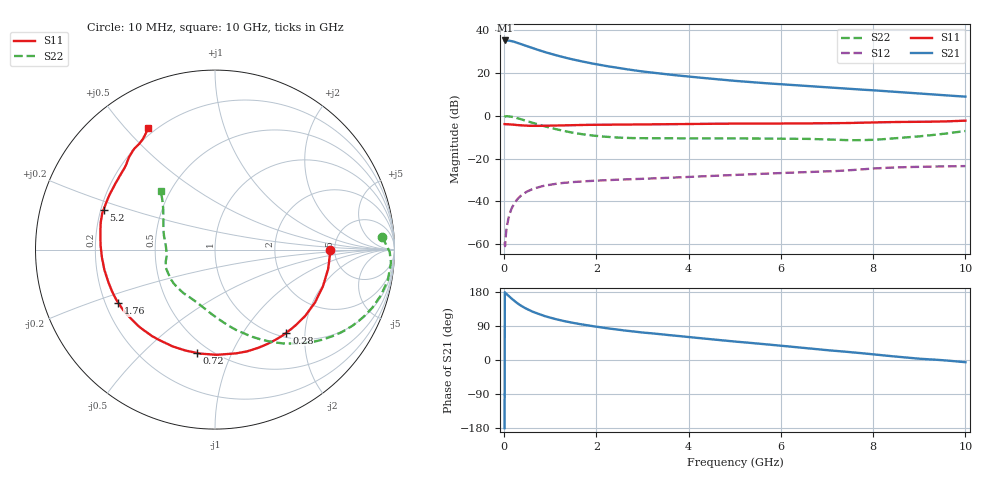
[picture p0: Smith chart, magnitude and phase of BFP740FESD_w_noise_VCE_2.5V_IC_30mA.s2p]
! Infineon Technologies  Discrete & RF Semiconductors
! BFP740FESD
! VCE =  2.5 V,  IC =  30 mA
! Common Emitter S-Parameters:  Jan 2016
# GHz  S  MA  R  50
!  f  S11  S21  S12  S22
! GHz  MAG  ANG  MAG  ANG  MAG  ANG  MAG  ANG
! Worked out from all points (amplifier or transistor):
!   233 points, 10 MHz to 10 GHz, reference 50 ohm
!   highest |S21| = 35.3 dB at 20 MHz (marker M1)
!   |S21| within 3 dB of that: start of sweep to 541.8 MHz
!   unconditionally stable (mu >= 1): 5.206 GHz to end of sweep
!   at 200 MHz: K = 0.12, MSG = 38.2 dB, |S12| = -41.7 dB
!   at 1.74 GHz: K = 0.55, MSG = 27.9 dB, |S12| = -30.6 dB
!   at 10 GHz: K = 1.14, MAG = 13.9 dB, |S12| = -23.5 dB
!   lowest NFmin = 0.98 dB at 450 MHz
!   S11 on the Smith chart (normalised r, x): 10 MHz: 4.60, -0.07; 280 MHz: 1.09, -1.60; 720 MHz: 0.43, -0.74; 1.76 GHz: 0.25, -0.24; 5.2 GHz: 0.21, +0.17; 10 GHz: 0.17, +0.58
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0.01  0.6428 -0.4  57.72 -179.8  0.0011 98.8  0.9347 4.4
0.02  0.64 -4.0  57.89 177.7  0.0009 91.0  0.9734 -0.8
0.11  0.633 -20.6  57.21 167.9  0.0047 80.2  0.9736 -11.0
0.15  0.6303 -28.0  56.29 163.2  0.0064 77.2  0.9597 -15.3
0.195  0.6238 -35.6  54.83 158.6  0.008 74.8  0.9372 -19.7
0.28  0.6101 -49.3  51.39 150.4  0.011 68.9  0.8877 -27.2
0.34  0.6036 -58.3  48.96 145.3  0.0129 65.5  0.8504 -32.1
0.45  0.5945 -72.6  44.44 137.3  0.0159 60.0  0.7827 -39.8
0.6  0.5863 -89.1  38.96 128.2  0.0191 53.9  0.6968 -48.7
0.72  0.5847 -100.1  35.25 122.6  0.0212 50.0  0.6382 -54.8
0.9  0.5888 -113.7  30.62 115.1  0.0236 45.3  0.5635 -62.8
1.12  0.5961 -126.7  26.21 107.8  0.0259 41.0  0.4902 -71.5
1.38  0.6047 -138.7  22.2 100.6  0.0277 37.4  0.4254 -80.6
1.68  0.6131 -149.0  18.81 93.9  0.0293 34.8  0.3747 -89.6
1.76  0.6149 -151.1  18.04 92.3  0.0296 34.3  0.3647 -91.7
2.42  0.6234 -166.3  13.46 80.8  0.0321 31.9  0.3131 -108.0
3.4  0.6362 179.0  9.677 67.9  0.0351 31.7  0.2998 -123.8
5.1  0.6599 161.2  6.457 47.7  0.042 32.7  0.297 -141.9
5.2  0.6598 160.3  6.331 46.7  0.0425 32.7  0.2967 -142.8
6.8  0.669 143.5  4.787 28.4  0.0492 32.2  0.2857 -163.6
8.4  0.7162 129.8  3.698 10.1  0.0618 29.4  0.2948 164.7
10  0.7727 118.7  2.82 -5.8  0.067 21.4  0.4429 132.8
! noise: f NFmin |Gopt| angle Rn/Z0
0.45  0.98  0.16  -169  0.08
2.4  1.01  0.17  -160  0.09
5.5  1.18  0.22  -171  0.09
10  1.68  0.42  -113  0.22
